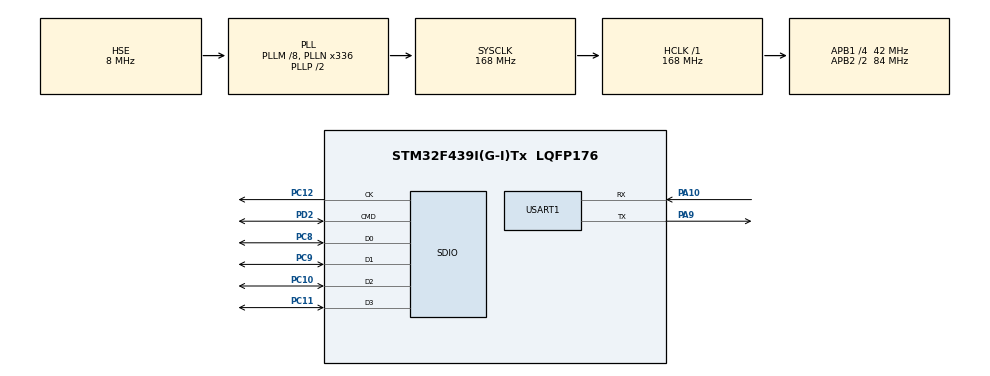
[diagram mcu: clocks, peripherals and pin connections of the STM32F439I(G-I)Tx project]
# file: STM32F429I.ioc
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Dma.Request0=SDIO_RX
Dma.Request1=SDIO_TX
Dma.SDIO_RX.0.Channel=DMA_CHANNEL_4
Dma.SDIO_RX.0.Direction=DMA_PERIPH_TO_MEMORY
Dma.SDIO_RX.0.FIFOMode=DMA_FIFOMODE_ENABLE
Dma.SDIO_RX.0.FIFOThreshold=DMA_FIFO_THRESHOLD_FULL
Dma.SDIO_RX.0.Instance=DMA2_Stream3
Dma.SDIO_RX.0.MemBurst=DMA_MBURST_INC4
Dma.SDIO_RX.0.MemDataAlignment=DMA_MDATAALIGN_WORD
Dma.SDIO_RX.0.MemInc=DMA_MINC_ENABLE
Dma.SDIO_RX.0.Mode=DMA_PFCTRL
Dma.SDIO_RX.0.PeriphBurst=DMA_PBURST_INC4
Dma.SDIO_RX.0.PeriphDataAlignment=DMA_PDATAALIGN_WORD
Dma.SDIO_RX.0.PeriphInc=DMA_PINC_DISABLE
Dma.SDIO_RX.0.Priority=DMA_PRIORITY_VERY_HIGH
Dma.SDIO_TX.1.Channel=DMA_CHANNEL_4
Dma.SDIO_TX.1.Direction=DMA_MEMORY_TO_PERIPH
Dma.SDIO_TX.1.FIFOMode=DMA_FIFOMODE_ENABLE
Dma.SDIO_TX.1.FIFOThreshold=DMA_FIFO_THRESHOLD_FULL
Dma.SDIO_TX.1.Instance=DMA2_Stream6
Dma.SDIO_TX.1.MemBurst=DMA_MBURST_INC4
Dma.SDIO_TX.1.MemDataAlignment=DMA_MDATAALIGN_WORD
Dma.SDIO_TX.1.MemInc=DMA_MINC_ENABLE
Dma.SDIO_TX.1.Mode=DMA_PFCTRL
Dma.SDIO_TX.1.PeriphBurst=DMA_PBURST_INC4
Dma.SDIO_TX.1.PeriphDataAlignment=DMA_PDATAALIGN_WORD
Dma.SDIO_TX.1.PeriphInc=DMA_PINC_DISABLE
Dma.SDIO_TX.1.Priority=DMA_PRIORITY_VERY_HIGH
Mcu.Family=STM32F4
Mcu.Name=STM32F439I(G-I)Tx
Mcu.Package=LQFP176
NVIC.DMA2_Stream3_IRQn=true\:6\:0\:true
NVIC.DMA2_Stream6_IRQn=true\:6\:0\:true
NVIC.PriorityGroup=NVIC_PRIORITYGROUP_4
NVIC.SDIO_IRQn=true\:5\:0\:true
PA10.Mode=Asynchronous
PA10.Signal=USART1_RX
PA9.Mode=Asynchronous
PA9.Signal=USART1_TX
PC10.GPIO_Mode=GPIO_MODE_AF_PP
PC10.GPIO_PuPd=GPIO_NOPULL
PC10.GPIO_Speed_High_Default=GPIO_SPEED_HIGH
PC10.Mode=SD_4_bits_Wide_bus
PC10.Signal=SDIO_D2
PC11.GPIO_Mode=GPIO_MODE_AF_PP
PC11.GPIO_PuPd=GPIO_NOPULL
PC11.GPIO_Speed_High_Default=GPIO_SPEED_HIGH
PC11.Mode=SD_4_bits_Wide_bus
PC11.Signal=SDIO_D3
PC12.Mode=SD_4_bits_Wide_bus
PC12.Signal=SDIO_CK
PC8.GPIO_Mode=GPIO_MODE_AF_PP
PC8.GPIO_PuPd=GPIO_NOPULL
PC8.GPIO_Speed_High_Default=GPIO_SPEED_HIGH
PC8.Mode=SD_4_bits_Wide_bus
PC8.Signal=SDIO_D0
PC9.GPIO_Mode=GPIO_MODE_AF_PP
PC9.GPIO_PuPd=GPIO_NOPULL
PC9.GPIO_Speed_High_Default=GPIO_SPEED_HIGH
PC9.Mode=SD_4_bits_Wide_bus
PC9.Signal=SDIO_D1
PD2.GPIO_Mode=GPIO_MODE_AF_PP
PD2.GPIO_PuPd=GPIO_NOPULL
PD2.GPIO_Speed_High_Default=GPIO_SPEED_HIGH
PD2.Mode=SD_4_bits_Wide_bus
PD2.Signal=SDIO_CMD
PH0/OSC_IN.Mode=HSE-External-Oscillator
PH0/OSC_IN.Signal=RCC_OSC_IN
PH1/OSC_OUT.Mode=HSE-External-Oscillator
PH1/OSC_OUT.Signal=RCC_OSC_OUT
ProjectManager.TargetToolchain=MDK-ARM V5
RCC.48MHZClocksFreq_Value=48000000
RCC.AHBFreq_Value=168000000
RCC.APB1CLKDivider=RCC_HCLK_DIV4
RCC.APB1Freq_Value=42000000
RCC.APB1TimFreq_Value=84000000
RCC.APB2CLKDivider=RCC_HCLK_DIV2
RCC.APB2Freq_Value=84000000
RCC.APB2TimFreq_Value=168000000
RCC.CortexFreq_Value=168000000
RCC.HCLKFreq_Value=168000000
RCC.HSE_VALUE=8000000
RCC.HSI_VALUE=16000000
RCC.LSE_VALUE=32768
RCC.PLLM=8
RCC.PLLN=336
RCC.PLLQ=7
RCC.PLLSourceVirtual=RCC_PLLSOURCE_HSE
RCC.SYSCLKFreq_VALUE=168000000
RCC.SYSCLKSource=RCC_SYSCLKSOURCE_PLLCLK
RCC.VCOOutputFreq_Value=336000000
SDIO.BusWide=SDIO_BUS_WIDE_1B
SDIO.WideMode=SDIO_BUS_WIDE_4B
board=STM32F429I

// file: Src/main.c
/**
  ******************************************************************************
  * File Name          : main.c
  * Description        : Main program body
  ******************************************************************************
  *
  * COPYRIGHT(c) 2015 STMicroelectronics
  *
  * Redistribution and use in source and binary forms, with or without modification,
  * are permitted provided that the following conditions are met:
  *   1. Redistributions of source code must retain the above copyright notice,
  *      this list of conditions and the following disclaimer.
  *   2. Redistributions in binary form must reproduce the above copyright notice,
  *      this list of conditions and the following disclaimer in the documentation
  *      and/or other materials provided with the distribution.
  *   3. Neither the name of STMicroelectronics nor the names of its contributors
  *      may be used to endorse or promote products derived from this software
  *      without specific prior written permission.
  *
  * THIS SOFTWARE IS PROVIDED BY THE COPYRIGHT HOLDERS AND CONTRIBUTORS "AS IS"
  * AND ANY EXPRESS OR IMPLIED WARRANTIES, INCLUDING, BUT NOT LIMITED TO, THE
  * IMPLIED WARRANTIES OF MERCHANTABILITY AND FITNESS FOR A PARTICULAR PURPOSE ARE
  * DISCLAIMED. IN NO EVENT SHALL THE COPYRIGHT HOLDER OR CONTRIBUTORS BE LIABLE
  * FOR ANY DIRECT, INDIRECT, INCIDENTAL, SPECIAL, EXEMPLARY, OR CONSEQUENTIAL
  * DAMAGES (INCLUDING, BUT NOT LIMITED TO, PROCUREMENT OF SUBSTITUTE GOODS OR
  * SERVICES; LOSS OF USE, DATA, OR PROFITS; OR BUSINESS INTERRUPTION) HOWEVER
  * CAUSED AND ON ANY THEORY OF LIABILITY, WHETHER IN CONTRACT, STRICT LIABILITY,
  * OR TORT (INCLUDING NEGLIGENCE OR OTHERWISE) ARISING IN ANY WAY OUT OF THE USE
  * OF THIS SOFTWARE, EVEN IF ADVISED OF THE POSSIBILITY OF SUCH DAMAGE.
  *
  ******************************************************************************
  */
#include "stm32f4xx_hal.h"
#include "dma.h"
#include "sdio.h"
#include "usart.h"
#include "gpio.h"

/* USER CODE BEGIN Includes */
#include <string.h>
/* USER CODE END Includes */

/* USER CODE BEGIN PV */
/* Private variables ---------------------------------------------------------*/

/* USER CODE END PV */

void SystemClock_Config(void);

/* USER CODE BEGIN PFP */
/* Private function prototypes -----------------------------------------------*/
HAL_SD_ErrorTypedef Status;
uint32_t Buffer_Tx[512/4], Buffer_Rx[512/4];
/* USER CODE END PFP */

int main(void)
{

  /* USER CODE BEGIN 1 */
	uint32_t i;
  /* USER CODE END 1 */

  /* MCU Configuration----------------------------------------------------------*/

  /* Reset of all peripherals, Initializes the Flash interface and the Systick. */
  HAL_Init();

  /* Configure the system clock */
  SystemClock_Config();

  /* Initialize all configured peripherals */
  MX_GPIO_Init();
  MX_DMA_Init();
  MX_SDIO_SD_Init();
  MX_USART1_UART_Init();

  /* USER CODE BEGIN 2 */
	printf(" Warning: this program may erase all the TF card data. \r\n Make sure you have backed up. Press 'y' to continue.\r\n");
	Status = HAL_SD_Init(&hsd, &SDCardInfo);
	if (Status == SD_OK)
  {				                                                                                                                                                                                                                                                                                                                                                                                                                                                                                                                                                                                                                                                                                                 +
    printf("\r\n Initialize SD card successfully!\r\n\r\n");
		printf(" SD card information! \r\n");
		printf(" CardCapacity  : %llu \r\n",SDCardInfo.CardCapacity );
		printf(" CardBlockSize : %d \r\n",SDCardInfo.CardBlockSize);
		printf(" RCA           : %d \r\n",SDCardInfo.RCA);
		printf(" CardType      : %d \r\n",SDCardInfo.CardType);
  }
	else
	{
		printf("\r\n Initialize SD card fail!\r\n");
	}

	Status = HAL_SD_WideBusOperation_Config(&hsd,SDIO_BUS_WIDE_4B);
	if (Status == SD_OK)
    printf("\r\n Enable wide bus operation successfully!\r\n");
	else
		printf("\r\n Enable wide bus operation fail!\r\n");

	/*------------------- Block Write --------------------------*/
	memset(Buffer_Tx,0x15,sizeof(Buffer_Tx));

	Status = HAL_SD_WriteBlocks_DMA(&hsd, Buffer_Tx, 0, 512, 1);
//	Status = HAL_SD_CheckWriteOperation(&hsd, 0xFF);
	if (Status == SD_OK)
	{
    printf("\r\n Write block successfully!\r\n");
		for(i=0;i<sizeof(Buffer_Tx)>>2;i++)
		{
			printf("%02x:0x%08x ",i,Buffer_Tx[i]);
		}
		printf("\r\n");
	}
	else
		printf("\r\n Write block fail!\r\n");

	/*------------------- Block Read --------------------------*/
	Status = HAL_SD_ReadBlocks_DMA(&hsd, Buffer_Rx, 0, 512, 1);
//	Status = HAL_SD_CheckReadOperation(&hsd, 0xFF);
	if (Status == SD_OK)
	{
    printf("\r\n Read block successfully!\r\n");
		for(i=0;i<sizeof(Buffer_Rx)>>2;i++)
		{
			printf("%02x:0x%08x ",i,Buffer_Rx[i]);
		}
		printf("\r\n");
	}
	else
		printf("\r\n Read block fail!\r\n");

	/*------------------- Block Erase -------------------------------*/
	Status = HAL_SD_Erase(&hsd, 0, 512);
	if (Status == SD_OK)
    printf("\r\n Erase block successfully!\r\n");
	else
		printf("\r\n Erase block fail!\r\n");

	/*------------------- Block Read --------------------------*/
	Status = HAL_SD_ReadBlocks_DMA(&hsd, Buffer_Rx, 0, 512, 1);
//	Status = HAL_SD_CheckReadOperation(&hsd, 0xFF);
	if (Status == SD_OK)
	{
    printf("\r\n Read block successfully!\r\n");
		for(i=0;i<sizeof(Buffer_Rx)>>2;i++)
		{
			printf("%02x:0x%08x ",i,Buffer_Rx[i]);
		}
		printf("\r\n");
	}
	else
		printf("\r\n Read block fail!\r\n");

  /* USER CODE END 2 */

  /* Infinite loop */
  while (1)
  {

  }

}

/** System Clock Configuration
*/
void SystemClock_Config(void)
{

  RCC_OscInitTypeDef RCC_OscInitStruct;
  RCC_ClkInitTypeDef RCC_ClkInitStruct;

  __PWR_CLK_ENABLE();

  __HAL_PWR_VOLTAGESCALING_CONFIG(PWR_REGULATOR_VOLTAGE_SCALE1);

  RCC_OscInitStruct.OscillatorType = RCC_OSCILLATORTYPE_HSE;
  RCC_OscInitStruct.HSEState = RCC_HSE_ON;
  RCC_OscInitStruct.PLL.PLLState = RCC_PLL_ON;
  RCC_OscInitStruct.PLL.PLLSource = RCC_PLLSOURCE_HSE;
  RCC_OscInitStruct.PLL.PLLM = 8;
  RCC_OscInitStruct.PLL.PLLN = 336;
  RCC_OscInitStruct.PLL.PLLP = RCC_PLLP_DIV2;
  RCC_OscInitStruct.PLL.PLLQ = 7;
  HAL_RCC_OscConfig(&RCC_OscInitStruct);

  RCC_ClkInitStruct.ClockType = RCC_CLOCKTYPE_SYSCLK|RCC_CLOCKTYPE_PCLK1
                              |RCC_CLOCKTYPE_PCLK2;
  RCC_ClkInitStruct.SYSCLKSource = RCC_SYSCLKSOURCE_PLLCLK;
  RCC_ClkInitStruct.AHBCLKDivider = RCC_SYSCLK_DIV1;
  RCC_ClkInitStruct.APB1CLKDivider = RCC_HCLK_DIV4;
  RCC_ClkInitStruct.APB2CLKDivider = RCC_HCLK_DIV2;
  HAL_RCC_ClockConfig(&RCC_ClkInitStruct, FLASH_LATENCY_5);

  HAL_SYSTICK_Config(HAL_RCC_GetHCLKFreq()/1000);

  HAL_SYSTICK_CLKSourceConfig(SYSTICK_CLKSOURCE_HCLK);

  /* SysTick_IRQn interrupt configuration */
  HAL_NVIC_SetPriority(SysTick_IRQn, 0, 0);
}

/************************ (C) COPYRIGHT STMicroelectronics *****END OF FILE****/
